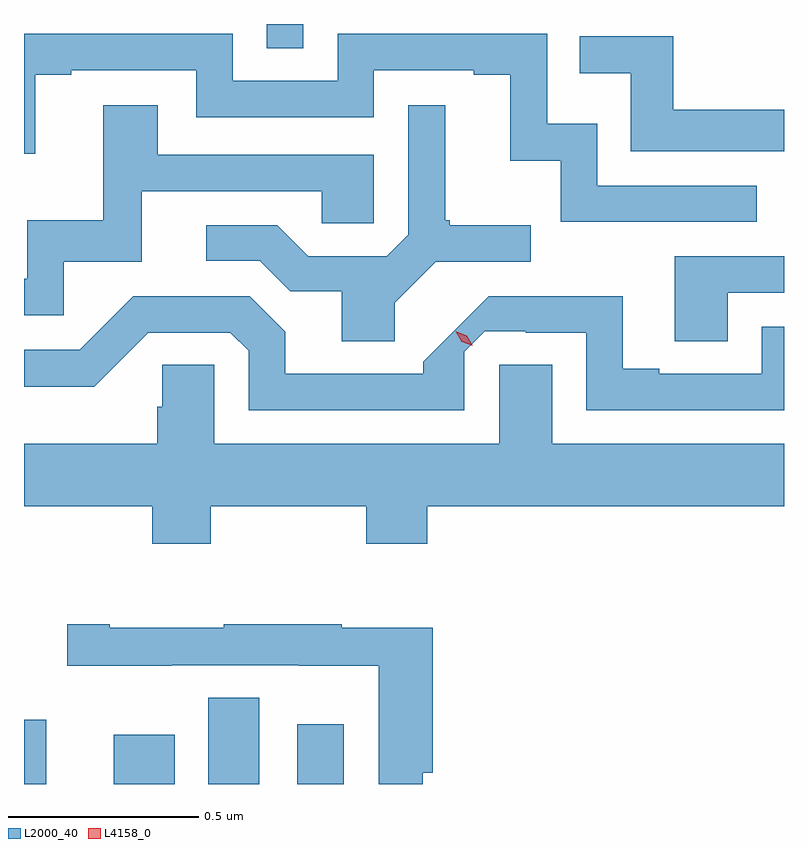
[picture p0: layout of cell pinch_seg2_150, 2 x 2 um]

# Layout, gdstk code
import gdstk
lib = gdstk.Library(unit=1e-6, precision=1e-09)
def R(c, l, rs):  # rectangles x0, y0, x1, y1
    for r in rs: c.add(gdstk.rectangle(r[:2], r[2:], *l))
def P(c, l, *ps):  # polygons
    for p in ps: c.add(gdstk.Polygon(p, *l))
L2000_40 = (2000, 40)
L4158_0 = (4158, 0)

pinch_seg2_150 = lib.new_cell('pinch_seg2_150')
R(pinch_seg2_150, L2000_40, [(1132.119,641.577,1132.177,641.746), (1132.355,641.577,1132.516,641.707), (1132.604,641.577,1132.738,641.804), (1132.838,641.577,1132.96,641.734), (1132.758,643.513,1132.854,643.577)])
P(pinch_seg2_150, L2000_40, [(1134.047,643.152),(1133.628,643.152),(1133.628,643.315),(1133.496,643.315),(1133.496,643.551),(1132.944,643.551),(1132.944,643.428),(1132.668,643.428),(1132.668,643.551),(1132.119,643.551),(1132.119,643.235),(1132.148,643.235),(1132.148,643.443),(1132.243,643.443),(1132.243,643.455),(1132.572,643.455),(1132.572,643.332),(1133.04,643.332),(1133.04,643.455),(1133.303,643.455),(1133.303,643.443),(1133.399,643.443),(1133.399,643.217),(1133.532,643.217),(1133.532,643.056),(1134.047,643.056)],
  [(1134.119,643.351),(1133.827,643.351),(1133.827,643.545),(1133.581,643.545),(1133.581,643.448),(1133.716,643.448),(1133.716,643.242),(1134.119,643.242)],
  [(1132.224,642.951),(1132.429,642.951),(1132.429,643.137),(1132.903,643.137),(1132.903,643.053),(1133.04,643.053),(1133.04,643.233),(1132.471,643.233),(1132.471,643.363),(1132.327,643.363),(1132.327,643.06),(1132.128,643.06),(1132.128,642.906),(1132.119,642.906),(1132.119,642.81),(1132.224,642.81)],
  [(1133.095,642.844),(1133.202,642.951),(1133.452,642.951),(1133.452,643.048),(1133.239,643.048),(1133.239,643.06),(1133.227,643.06),(1133.227,643.363),(1133.13,643.363),(1133.13,643.023),(1133.073,642.966),(1132.867,642.966),(1132.786,643.047),(1132.599,643.047),(1132.599,642.954),(1132.74,642.954),(1132.82,642.874),(1132.955,642.874),(1132.955,642.742),(1133.095,642.742)],
  [(1133.971,642.87),(1134.119,642.87),(1134.119,642.966),(1133.831,642.966),(1133.831,642.742),(1133.971,642.742)],
  [(1133.277,642.714),(1133.331,642.768),(1133.439,642.768),(1133.439,642.765),(1133.598,642.765),(1133.598,642.561),(1134.119,642.561),(1134.119,642.78),(1134.06,642.78),(1134.06,642.657),(1133.791,642.657),(1133.791,642.67),(1133.695,642.67),(1133.695,642.861),(1133.342,642.861),(1133.169,642.688),(1133.169,642.657),(1132.807,642.657),(1132.807,642.767),(1132.713,642.861),(1132.407,642.861),(1132.266,642.72),(1132.119,642.72),(1132.119,642.623),(1132.304,642.623),(1132.446,642.765),(1132.662,642.765),(1132.71,642.717),(1132.71,642.561),(1133.277,642.561)],
  [(1132.611,642.308),(1133.02,642.308),(1133.02,642.209),(1133.18,642.209),(1133.18,642.308),(1134.119,642.308),(1134.119,642.472),(1133.509,642.472),(1133.509,642.68),(1133.369,642.68),(1133.369,642.472),(1132.62,642.472),(1132.62,642.68),(1132.483,642.68),(1132.483,642.57),(1132.469,642.57),(1132.469,642.472),(1132.119,642.472),(1132.119,642.308),(1132.456,642.308),(1132.456,642.209),(1132.611,642.209)],
  [(1133.168,641.606),(1133.195,641.606),(1133.195,641.988),(1132.955,641.988),(1132.955,641.998),(1132.645,641.998),(1132.645,641.988),(1132.345,641.988),(1132.345,641.998),(1132.233,641.998),(1132.233,641.888),(1132.508,641.888),(1132.508,641.889),(1132.842,641.889),(1132.842,641.888),(1133.052,641.888),(1133.052,641.577),(1133.168,641.577)])
P(pinch_seg2_150, L4158_0, [(1133.3,642.73),(1133.271,642.741),(1133.255,642.768),(1133.255,642.768),(1133.255,642.768),(1133.284,642.757),(1133.3,642.73),(1133.3,642.73)])

lib.write_gds('pinch_seg2_150.gds')
